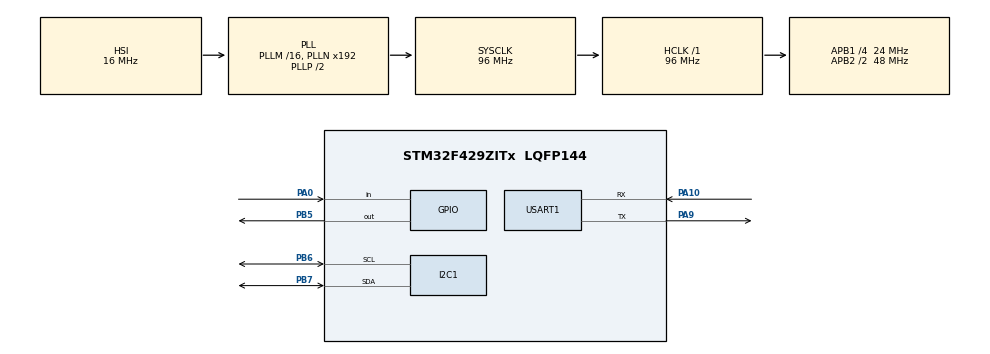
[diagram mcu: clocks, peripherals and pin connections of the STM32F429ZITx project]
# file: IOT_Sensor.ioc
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Mcu.Family=STM32F4
Mcu.Name=STM32F429ZITx
Mcu.Package=LQFP144
NVIC.PriorityGroup=NVIC_PRIORITYGROUP_4
PA0/WKUP.GPIO_PuPd=GPIO_PULLDOWN
PA0/WKUP.Signal=GPIO_Input
PA10.Mode=Asynchronous
PA10.Signal=USART1_RX
PA13.Mode=Serial_Wire
PA13.Signal=SYS_JTMS-SWDIO
PA14.Mode=Serial_Wire
PA14.Signal=SYS_JTCK-SWCLK
PA9.Mode=Asynchronous
PA9.Signal=USART1_TX
PB5.GPIO_ModeDefaultOutputPP=GPIO_MODE_OUTPUT_OD
PB5.GPIO_PuPd=GPIO_NOPULL
PB5.Signal=GPIO_Output
PB6.Mode=I2C
PB6.Signal=I2C1_SCL
PB7.Mode=I2C
PB7.Signal=I2C1_SDA
ProjectManager.HeapSize=0x200
ProjectManager.StackSize=0x400
ProjectManager.TargetToolchain=STM32CubeIDE
RCC.AHBFreq_Value=96000000
RCC.APB1CLKDivider=RCC_HCLK_DIV4
RCC.APB1Freq_Value=24000000
RCC.APB1TimFreq_Value=48000000
RCC.APB2CLKDivider=RCC_HCLK_DIV2
RCC.APB2Freq_Value=48000000
RCC.APB2TimFreq_Value=96000000
RCC.CortexFreq_Value=96000000
RCC.HCLKFreq_Value=96000000
RCC.HSE_VALUE=25000000
RCC.HSI_VALUE=16000000
RCC.LSE_VALUE=32768
RCC.PLLSAIN=100
RCC.SYSCLKFreq_VALUE=96000000
RCC.SYSCLKSource=RCC_SYSCLKSOURCE_PLLCLK
RCC.VCOOutputFreq_Value=192000000
TIM2.Prescaler=47
USART1.VirtualMode=VM_ASYNC
VP_TIM2_VS_ClockSourceINT.Mode=Internal
board=custom

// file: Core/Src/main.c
/* USER CODE BEGIN Header */
/**
  ******************************************************************************
  * @file           : main.c
  * @brief          : Main program body
  ******************************************************************************
  * @attention
  *
  * Copyright (c) 2024 STMicroelectronics.
  * All rights reserved.
  *
  * This software is licensed under terms that can be found in the LICENSE file
  * in the root directory of this software component.
  * If no LICENSE file comes with this software, it is provided AS-IS.
  *
  ******************************************************************************
  */
/* USER CODE END Header */
#include "main.h"

/* USER CODE BEGIN Includes */
#include <stdio.h>
#include <math.h>
#include <string.h>

/* USER CODE END Includes */

/* USER CODE BEGIN PD */
#define SHT40_ADDR 0x44 << 1   // �?ịa chỉ I2C của SHT40 (cần dịch trái 1 bit)
#define BH1750_ADDR 0x23 << 1  // �?ịa chỉ I2C của BH1750 (cần dịch trái 1 bit)
//----
// Lệnh đ�?c nhiệt độ và độ ẩm từ SHT40
#define SHT40_MEASURE_CMD 0xFD

// Lệnh đ�?c cư�?ng độ ánh sáng từ BH1750
#define BH1750_MEASURE_CMD 0x10
#define LCD_CS_GPIO_Port GPIOA    // GPIO port của chân CS (ch�?n port phù hợp)
#define LCD_CS_Pin GPIO_PIN_7    // Pin của chân CS (ch�?n pin phù hợp)

/* USER CODE END PD */

I2C_HandleTypeDef hi2c1;

TIM_HandleTypeDef htim2;

UART_HandleTypeDef huart1;

/* USER CODE BEGIN PV */

uint8_t Presence=0;
uint8_t Rh_byte1=0;
uint8_t Rh_byte2=0;
uint8_t Temp_byte1=0;
uint8_t Temp_byte2=0;
uint8_t SUM=0;
uint16_t TEMP=0;
uint16_t RH=0;
float TemperatureDHT=0;//SHT22
float HumidityDHT=0;//SHT22
uint16_t i=1;
float temperature=0;//SHT22
float humidity=0;//SHT22
float light_intensity=0;
uint16_t light=0;

char buffer[500];
const char *stop = "Tam dung lay mau\n";

const char *C1;
const char *C2;
const char *C3;
const char *Hello = "Chuong trinh khao sat, doi tuong: SEN DA\n\n";
//const char *data="Lan do thu: ";

/* USER CODE END PV */

void SystemClock_Config(void);
static void MX_GPIO_Init(void);
static void MX_I2C1_Init(void);
static void MX_TIM2_Init(void);
static void MX_USART1_UART_Init(void);

/* USER CODE BEGIN 0 */
//void HAL_GPIO_EXTI_Callback(uint16_t GPIO_Pin)
//{
//	//Ky thuat timeout
//
//
//		HAL_Delay(50);
//		uint32_t tpre = HAL_GetTick();
//		while(GPIO_PIN_SET == HAL_GPIO_ReadPin(GPIOA, GPIO_PIN_0))
//		{
//			if((HAL_GetTick() - tpre )> 3000)
//			{
//				break;
//			}
//		}
//		HAL_Delay(50);
//		HAL_UART_Transmit(&huart1, (uint8_t *)stop, strlen(stop), HAL_MAX_DELAY);
//		while(GPIO_PIN_RESET == HAL_GPIO_ReadPin(GPIOA, GPIO_PIN_0));
//		HAL_Delay(50);
//
//		__HAL_GPIO_EXTI_CLEAR_IT(GPIO_Pin);
//
//}
void Set_Pin_Output(GPIO_TypeDef *GPIOx, uint16_t GPIO_Pin) {
    GPIO_InitTypeDef GPIO_InitStruct = {0};

    GPIO_InitStruct.Pin = GPIO_Pin;
    GPIO_InitStruct.Mode = GPIO_MODE_OUTPUT_PP; // Chế độ Output Push-Pull
    GPIO_InitStruct.Pull = GPIO_NOPULL;         // Không sử dụng Pull-Up/Down
    GPIO_InitStruct.Speed = GPIO_SPEED_FREQ_LOW; // Tốc độ thấp
    HAL_GPIO_Init(GPIOx, &GPIO_InitStruct);
}

void Set_Pin_Input(GPIO_TypeDef *GPIOx, uint16_t GPIO_Pin) {
    GPIO_InitTypeDef GPIO_InitStruct = {0};

    GPIO_InitStruct.Pin = GPIO_Pin;
    GPIO_InitStruct.Mode = GPIO_MODE_INPUT;     // Chế độ Input
    GPIO_InitStruct.Pull = GPIO_NOPULL;         // Không sử dụng Pull-Up/Down
    HAL_GPIO_Init(GPIOx, &GPIO_InitStruct);
}
void Delay_us(uint16_t us)
{
	__HAL_TIM_SET_COUNTER(&htim2, 0);//Reset timer
	while ((__HAL_TIM_GET_COUNTER(&htim2))<us);//Doi
}
void DHT22_Start(void)
{
	Set_Pin_Output(GPIOB, GPIO_PIN_5); // set the pin as output
	HAL_GPIO_WritePin(GPIOB, GPIO_PIN_5, GPIO_PIN_RESET);
	Delay_us(1200);//Delay 1.2ms for SHT reset
	HAL_GPIO_WritePin (GPIOB, GPIO_PIN_5, GPIO_PIN_SET);   // pull the pin high
	Delay_us(30);   // wait for 30us
	Set_Pin_Input(GPIOB, GPIO_PIN_5);   // set as input
	//Start receive data from SHT22
}
uint8_t DHT22_Check_Response (void)//Receive data <1bit>
{
	Set_Pin_Input(GPIOB, GPIO_PIN_5);   // set as input
	uint8_t Response = 0;
	Delay_us(40);  // wait for 40us
	if (!(HAL_GPIO_ReadPin(GPIOB, GPIO_PIN_5))) // if the pin is low
	{
		Delay_us(80);   // wait for 80us
		if ((HAL_GPIO_ReadPin (GPIOB, GPIO_PIN_5))) Response = 1;
		// if the pin is high, response is ok
		else Response = -1;
		//we need 40+80 = 120us to wait for sensor response that it readys
	}
	while ((HAL_GPIO_ReadPin (GPIOB, GPIO_PIN_5)));   // wait for the pin to go low
	return Response;
}
uint8_t DHT22_Read (void)// We need 40bit for one-wire, so in loop, we use i from 0->7 for 1byte
{
	uint8_t i,j;
	for (j=0;j<8;j++)
	{
		//after response, sht22 start transmit 1bit, sht22 put the pin high (by res 10k-vcc)
		while (!(HAL_GPIO_ReadPin (GPIOB, GPIO_PIN_5)));   // wait for the pin to go high
		Delay_us(40);   // wait for 40 us

		if (!(HAL_GPIO_ReadPin (GPIOB, GPIO_PIN_5)))   // if the pin is low
		{
			i&= ~(1<<(7-j));   // write 0

		}
		else i|= (1<<(7-j));  // if the pin is high, write 1
		while ((HAL_GPIO_ReadPin (GPIOB, GPIO_PIN_5)));  // wait for the pin to go low
	}

	return i;
}
void DHT22()
{
	DHT22_Start();
	Presence = DHT22_Check_Response();
	Rh_byte1 = DHT22_Read ();
	Rh_byte2 = DHT22_Read ();
	Temp_byte1 = DHT22_Read ();
	Temp_byte2 = DHT22_Read ();
	SUM = DHT22_Read();

	TEMP = ((Temp_byte1<<8)|Temp_byte2);
	RH = ((Rh_byte1<<8)|Rh_byte2);

	TemperatureDHT = (float) (TEMP/10.2);
	HumidityDHT = (float) (RH/10.5);

	HAL_Delay(1000);
}

void SHT40_ReadTemperatureHumidity(float *temperature, float *humidity) {
    uint8_t cmd = SHT40_MEASURE_CMD;
    uint8_t data[6]; // 6 byte dữ liệu trả v�? (2 byte nhiệt độ, 1 byte CRC, 2 byte độ ẩm, 1 byte CRC)

    // Gửi lệnh đo
    HAL_I2C_Master_Transmit(&hi2c1, SHT40_ADDR, &cmd, 1, HAL_MAX_DELAY);

    // �?ợi 10ms để cảm biến đo và trả v�? dữ liệu
    HAL_Delay(10);

    // �?�?c dữ liệu từ SHT40
    if (HAL_I2C_Master_Receive(&hi2c1, SHT40_ADDR, data, 6, HAL_MAX_DELAY) == HAL_OK) {
        // Chuyển đổi dữ liệu nhiệt độ
        uint16_t temp_raw = (data[0] << 8) | data[1];
        *temperature = -45.0 + 175.0 * (float)temp_raw / 65535.0;

        // Chuyển đổi dữ liệu độ ẩm
        uint16_t hum_raw = (data[3] << 8) | data[4];
        *humidity = -6.0 + 125.0 * (float)hum_raw / 65535.0;
    } else {
        // Xử lý lỗi đ�?c dữ liệu nếu có
        *temperature = -999.0; // Báo lỗi với giá trị bất thư�?ng
        *humidity = -999.0;    // Báo lỗi với giá trị bất thư�?ng
    }
}

void BH1750_ReadLightIntensity(float *light_intensity)
{
    uint8_t cmd = BH1750_MEASURE_CMD;
    uint8_t data[2]; // 2 byte dữ liệu trả v�?

    // Gửi lệnh đo cư�?ng độ ánh sáng
    HAL_I2C_Master_Transmit(&hi2c1, BH1750_ADDR, &cmd, 1, HAL_MAX_DELAY);

    // �?ợi th�?i gian để cảm biến đo và trả v�? dữ liệu (khoảng 180ms)
    HAL_Delay(180);

    // �?�?c dữ liệu từ BH1750 (2 byte)
    if (HAL_I2C_Master_Receive(&hi2c1, BH1750_ADDR, data, 2, HAL_MAX_DELAY) == HAL_OK)
    {
        // Chuyển đổi giá trị ánh sáng (Lux) từ 2 byte dữ liệu
        light = (data[0] << 8) | data[1];
        *light_intensity = 1.0*(float) light/1.2;
    }
    else
    {
        // Xử lý lỗi đ�?c dữ liệu nếu có
        *light_intensity = 0xFFFF; // Báo lỗi với giá trị bất thư�?ng
    }
}
void SendData(UART_HandleTypeDef *huart) {

    // Tạo chuỗi chứa các giá trị
    snprintf(buffer, sizeof(buffer),
    		 "Lan do thu: %d"
             "\nNhiet do dat: %.2f degC\n"
             "Do am dat: %.2f%%\n"
             "Nhiet do khong khi: %.2fdegC\n"
             "Do am khong khi: %.2f%%\n"
             "Cuong do anh sang: %f Lux\n\n",
             i, TemperatureDHT, HumidityDHT, temperature, HumidityDHT, light_intensity);

    // Gửi chuỗi qua USART
    HAL_UART_Transmit(huart, (uint8_t *)buffer, strlen(buffer), HAL_MAX_DELAY);

    if(CheckTem() == 1)
    	C1 = "Nhiet do Kha thap, Nguy co hu hai cao. Can duy chuyen den noi am ap\n";
    else if (CheckTem() == 2)
    	C1 = "Nhiet do ly tuong, Cay phat trien binh thuong.\n";
    else if (CheckTem() == 3)
    	C1 = "nhiet do cao, Nguy co chay nang. Can lam mat ngay lap tuc.\n";
    if(CheckHum() == 1 )
    	C2 = "Do am thap, so luong hoi nuoc qua it. De xuat phun suong, tuoi nuoc cap am.\n";
    else if(CheckHum() == 2 )
    	C2 = "Do am ly tuong, Thich hop cho su phat trien cua cay.\n";
    else if	(CheckHum() == 3 )
        C2 = "Do am cao, Canh bao cay de benh va chet.\n";
    if(CheckLight() == 1)
    	C3 = "Anh sang yeu, Cay kem phat trien. Canh bao than dai la nhat mau\n";
    else if(CheckLight() ==2 )
    	C3 = "Anh sang phu hop, Cay phat trien on dinh\n";
    else if(CheckLight() ==3)
    	C3 = "Anh sang tot, Cay phat trien manh me, mau sac dep, chat luong tot\n";
    else
    	C3 = "Anh sang manh, Cay quang hop lien tuc, Can han che anh sang.\n";
    HAL_UART_Transmit(huart, (uint8_t *)C1, strlen(C1), HAL_MAX_DELAY);
    HAL_UART_Transmit(huart, (uint8_t *)C2, strlen(C2), HAL_MAX_DELAY);
    HAL_UART_Transmit(huart, (uint8_t *)C3, strlen(C3), HAL_MAX_DELAY);

    }
int CheckTem()
{
	if(temperature < 10 && TemperatureDHT <10)
	{
		return 1;
	}
	else if (temperature > 16 && TemperatureDHT > 16 &&
			 temperature < 32 && TemperatureDHT < 32
			)
		return 2;
	else
		return 1;
}
int CheckHum()
{
	if(HumidityDHT < 30 && HumidityDHT < 30)
	{
		return 1;
	}
	else if (HumidityDHT > 35 && HumidityDHT > 35 &&
		     HumidityDHT < 60 && HumidityDHT < 60
			)
		return 2;
	else
		return 3;
}
int CheckLight()
{
	if(light_intensity < 1000)
	{
		return 1;
	}
	else if (light_intensity > 1000 && light_intensity < 3000
			)
		return 2;
	else if (light_intensity >3000 && light_intensity < 5000)
		return 3;
	else
		return 4;
}

/* USER CODE END 0 */

int main(void)
{

  /* MCU Configuration--------------------------------------------------------*/

  /* Reset of all peripherals, Initializes the Flash interface and the Systick. */
  HAL_Init();

  /* Configure the system clock */
  SystemClock_Config();

  /* Initialize all configured peripherals */
  MX_GPIO_Init();
  MX_I2C1_Init();
  MX_TIM2_Init();
  MX_USART1_UART_Init();
  /* USER CODE BEGIN 2 */
  HAL_TIM_Base_Start(&htim2);  // for us Delay
  /* USER CODE END 2 */

  /* Infinite loop */
  /* USER CODE BEGIN WHILE */
  HAL_UART_Transmit(&huart1, (uint8_t *)Hello, strlen(Hello), HAL_MAX_DELAY);

  do
  {
    /* USER CODE END WHILE meo*/
	  	  DHT22();
	  	  SHT40_ReadTemperatureHumidity(&temperature, &humidity);
	  	  BH1750_ReadLightIntensity(&light_intensity);
	  	  SendData(&huart1);
	  	  i++;
	  	  HAL_Delay(500);
    /* USER CODE BEGIN 3 */
  }while (HAL_GPIO_ReadPin(GPIOA, GPIO_PIN_A));
  /* USER CODE END 3 */
}

void SystemClock_Config(void)
{
  RCC_OscInitTypeDef RCC_OscInitStruct = {0};
  RCC_ClkInitTypeDef RCC_ClkInitStruct = {0};

  /** Configure the main internal regulator output voltage
  */
  __HAL_RCC_PWR_CLK_ENABLE();
  __HAL_PWR_VOLTAGESCALING_CONFIG(PWR_REGULATOR_VOLTAGE_SCALE3);

  /** Initializes the RCC Oscillators according to the specified parameters
  * in the RCC_OscInitTypeDef structure.
  */
  RCC_OscInitStruct.OscillatorType = RCC_OSCILLATORTYPE_HSI;
  RCC_OscInitStruct.HSIState = RCC_HSI_ON;
  RCC_OscInitStruct.HSICalibrationValue = RCC_HSICALIBRATION_DEFAULT;
  RCC_OscInitStruct.PLL.PLLState = RCC_PLL_ON;
  RCC_OscInitStruct.PLL.PLLSource = RCC_PLLSOURCE_HSI;
  RCC_OscInitStruct.PLL.PLLM = 16;
  RCC_OscInitStruct.PLL.PLLN = 192;
  RCC_OscInitStruct.PLL.PLLP = RCC_PLLP_DIV2;
  RCC_OscInitStruct.PLL.PLLQ = 4;
  if (HAL_RCC_OscConfig(&RCC_OscInitStruct) != HAL_OK)
  {
    Error_Handler();
  }

  /** Initializes the CPU, AHB and APB buses clocks
  */
  RCC_ClkInitStruct.ClockType = RCC_CLOCKTYPE_HCLK|RCC_CLOCKTYPE_SYSCLK
                              |RCC_CLOCKTYPE_PCLK1|RCC_CLOCKTYPE_PCLK2;
  RCC_ClkInitStruct.SYSCLKSource = RCC_SYSCLKSOURCE_PLLCLK;
  RCC_ClkInitStruct.AHBCLKDivider = RCC_SYSCLK_DIV1;
  RCC_ClkInitStruct.APB1CLKDivider = RCC_HCLK_DIV4;
  RCC_ClkInitStruct.APB2CLKDivider = RCC_HCLK_DIV2;

  if (HAL_RCC_ClockConfig(&RCC_ClkInitStruct, FLASH_LATENCY_3) != HAL_OK)
  {
    Error_Handler();
  }
}

static void MX_I2C1_Init(void)
{

  hi2c1.Instance = I2C1;
  hi2c1.Init.ClockSpeed = 100000;
  hi2c1.Init.DutyCycle = I2C_DUTYCYCLE_2;
  hi2c1.Init.OwnAddress1 = 0;
  hi2c1.Init.AddressingMode = I2C_ADDRESSINGMODE_7BIT;
  hi2c1.Init.DualAddressMode = I2C_DUALADDRESS_DISABLE;
  hi2c1.Init.OwnAddress2 = 0;
  hi2c1.Init.GeneralCallMode = I2C_GENERALCALL_DISABLE;
  hi2c1.Init.NoStretchMode = I2C_NOSTRETCH_DISABLE;
  if (HAL_I2C_Init(&hi2c1) != HAL_OK)
  {
    Error_Handler();
  }

  /** Configure Analogue filter
  */
  if (HAL_I2CEx_ConfigAnalogFilter(&hi2c1, I2C_ANALOGFILTER_ENABLE) != HAL_OK)
  {
    Error_Handler();
  }

  /** Configure Digital filter
  */
  if (HAL_I2CEx_ConfigDigitalFilter(&hi2c1, 0) != HAL_OK)
  {
    Error_Handler();
  }

}

static void MX_TIM2_Init(void)
{

  TIM_ClockConfigTypeDef sClockSourceConfig = {0};
  TIM_MasterConfigTypeDef sMasterConfig = {0};

  htim2.Instance = TIM2;
  htim2.Init.Prescaler = 47;
  htim2.Init.CounterMode = TIM_COUNTERMODE_UP;
  htim2.Init.Period = 4294967295;
  htim2.Init.ClockDivision = TIM_CLOCKDIVISION_DIV1;
  htim2.Init.AutoReloadPreload = TIM_AUTORELOAD_PRELOAD_DISABLE;
  if (HAL_TIM_Base_Init(&htim2) != HAL_OK)
  {
    Error_Handler();
  }
  sClockSourceConfig.ClockSource = TIM_CLOCKSOURCE_INTERNAL;
  if (HAL_TIM_ConfigClockSource(&htim2, &sClockSourceConfig) != HAL_OK)
  {
    Error_Handler();
  }
  sMasterConfig.MasterOutputTrigger = TIM_TRGO_RESET;
  sMasterConfig.MasterSlaveMode = TIM_MASTERSLAVEMODE_DISABLE;
  if (HAL_TIMEx_MasterConfigSynchronization(&htim2, &sMasterConfig) != HAL_OK)
  {
    Error_Handler();
  }

}

static void MX_USART1_UART_Init(void)
{

  huart1.Instance = USART1;
  huart1.Init.BaudRate = 115200;
  huart1.Init.WordLength = UART_WORDLENGTH_8B;
  huart1.Init.StopBits = UART_STOPBITS_1;
  huart1.Init.Parity = UART_PARITY_NONE;
  huart1.Init.Mode = UART_MODE_TX_RX;
  huart1.Init.HwFlowCtl = UART_HWCONTROL_NONE;
  huart1.Init.OverSampling = UART_OVERSAMPLING_16;
  if (HAL_UART_Init(&huart1) != HAL_OK)
  {
    Error_Handler();
  }

}

static void MX_GPIO_Init(void)
{
  GPIO_InitTypeDef GPIO_InitStruct = {0};

  /* GPIO Ports Clock Enable */
  __HAL_RCC_GPIOA_CLK_ENABLE();
  __HAL_RCC_GPIOB_CLK_ENABLE();

  /*Configure GPIO pin Output Level */
  HAL_GPIO_WritePin(GPIOB, GPIO_PIN_5, GPIO_PIN_RESET);

  /*Configure GPIO pin : PA0 */
  GPIO_InitStruct.Pin = GPIO_PIN_0;
  GPIO_InitStruct.Mode = GPIO_MODE_INPUT;
  GPIO_InitStruct.Pull = GPIO_PULLDOWN;
  HAL_GPIO_Init(GPIOA, &GPIO_InitStruct);

  /*Configure GPIO pin : PB5 */
  GPIO_InitStruct.Pin = GPIO_PIN_5;
  GPIO_InitStruct.Mode = GPIO_MODE_OUTPUT_OD;
  GPIO_InitStruct.Pull = GPIO_NOPULL;
  GPIO_InitStruct.Speed = GPIO_SPEED_FREQ_LOW;
  HAL_GPIO_Init(GPIOB, &GPIO_InitStruct);

}

void Error_Handler(void)
{
  __disable_irq();
  while (1)
  {
  }
}
